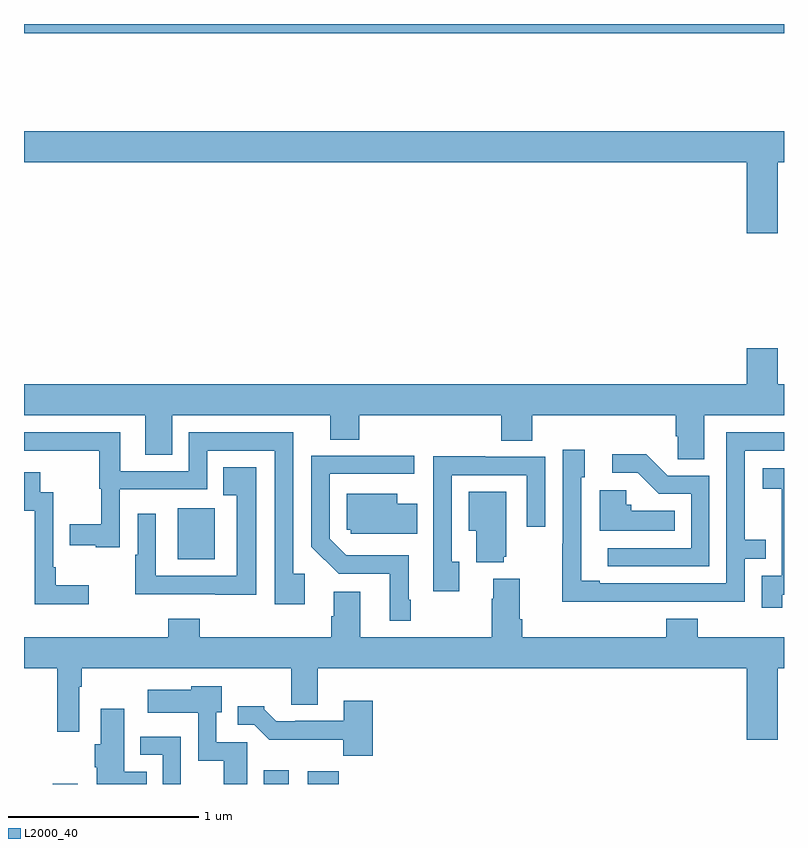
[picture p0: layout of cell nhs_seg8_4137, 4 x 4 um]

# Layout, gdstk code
import gdstk
lib = gdstk.Library(unit=1e-6, precision=1e-09)
def R(c, l, rs):  # rectangles x0, y0, x1, y1
    for r in rs: c.add(gdstk.rectangle(r[:2], r[2:], *l))
def P(c, l, *ps):  # polygons
    for p in ps: c.add(gdstk.Polygon(p, *l))
L2000_40 = (2000, 40)

nhs_seg8_4137 = lib.new_cell('nhs_seg8_4137')
R(nhs_seg8_4137, L2000_40, [(365.15,1107.9,365.284,1107.901), (366.263,1107.9,366.394,1107.973), (366.494,1107.9,366.656,1107.967), (365.81,1109.084,366.004,1109.352), (365,1111.852,369,1111.9)])
P(nhs_seg8_4137, L2000_40, [(368.968,1111.172),(369,1111.172),(369,1111.336),(365,1111.336),(365,1111.172),(368.804,1111.172),(368.804,1110.798),(368.968,1110.798)],
  [(368.581,1109.84),(369,1109.84),(369,1110.004),(368.968,1110.004),(368.968,1110.193),(368.804,1110.193),(368.804,1110.004),(365,1110.004),(365,1109.84),(365.639,1109.84),(365.639,1109.632),(365.779,1109.632),(365.779,1109.84),(366.611,1109.84),(366.611,1109.713),(366.764,1109.713),(366.764,1109.84),(367.511,1109.84),(367.511,1109.707),(367.676,1109.707),(367.676,1109.84),(368.429,1109.84),(368.429,1109.731),(368.442,1109.731),(368.442,1109.608),(368.581,1109.608)],
  [(368.297,1108.86),(368.793,1108.86),(368.793,1109.085),(368.903,1109.085),(368.903,1109.186),(368.793,1109.186),(368.793,1109.655),(369,1109.655),(369,1109.751),(368.697,1109.751),(368.697,1108.956),(368.029,1108.956),(368.029,1108.969),(367.932,1108.969),(367.932,1109.514),(367.951,1109.514),(367.951,1109.659),(367.836,1109.659),(367.836,1109.165),(367.834,1109.165),(367.834,1108.859),(368.297,1108.859)],
  [(366.478,1109.006),(366.417,1109.006),(366.417,1109.751),(365.868,1109.751),(365.868,1109.547),(365.506,1109.547),(365.506,1109.751),(365,1109.751),(365,1109.655),(365.173,1109.655),(365.173,1109.653),(365.397,1109.653),(365.397,1109.454),(365.407,1109.454),(365.407,1109.266),(365.241,1109.266),(365.241,1109.156),(365.378,1109.156),(365.378,1109.145),(365.505,1109.145),(365.505,1109.451),(365.964,1109.451),(365.964,1109.655),(366.321,1109.655),(366.321,1108.845),(366.478,1108.845)],
  [(368.607,1109.523),(368.388,1109.523),(368.275,1109.636),(368.097,1109.636),(368.097,1109.538),(368.231,1109.538),(368.342,1109.427),(368.511,1109.427),(368.511,1109.142),(368.073,1109.142),(368.073,1109.046),(368.607,1109.046)],
  [(367.036,1108.87),(367.024,1108.87),(367.024,1109.103),(366.696,1109.103),(366.609,1109.19),(366.609,1109.532),(367.054,1109.532),(367.054,1109.628),(366.513,1109.628),(366.513,1109.15),(366.656,1109.007),(366.926,1109.007),(366.926,1108.758),(367.036,1108.758)],
  [(367.291,1109.07),(367.251,1109.07),(367.251,1109.526),(367.647,1109.526),(367.647,1109.253),(367.743,1109.253),(367.743,1109.622),(367.427,1109.622),(367.427,1109.624),(367.155,1109.624),(367.155,1108.914),(367.291,1108.914)],
  [(366.223,1109.566),(366.049,1109.566),(366.049,1109.42),(366.119,1109.42),(366.119,1108.995),(365.694,1108.995),(365.694,1109.323),(365.598,1109.323),(365.598,1109.106),(365.586,1109.106),(365.586,1108.899),(366.007,1108.899),(366.007,1108.897),(366.223,1108.897)],
  [(368.992,1108.897),(369,1108.897),(369,1109.563),(368.889,1109.563),(368.889,1109.453),(368.987,1109.453),(368.987,1109.225),(368.988,1109.225),(368.988,1108.995),(368.883,1108.995),(368.883,1108.827),(368.992,1108.827)],
  [(365.341,1108.946),(365.167,1108.946),(365.167,1109.041),(365.154,1109.041),(365.154,1109.436),(365.085,1109.436),(365.085,1109.542),(365,1109.542),(365,1109.337),(365.057,1109.337),(365.057,1108.847),(365.341,1108.847)],
  [(368.426,1109.338),(368.196,1109.338),(368.196,1109.37),(368.169,1109.37),(368.169,1109.446),(368.03,1109.446),(368.03,1109.234),(368.426,1109.234)],
  [(367.526,1109.097),(367.537,1109.097),(367.537,1109.437),(367.34,1109.437),(367.34,1109.234),(367.379,1109.234),(367.379,1109.066),(367.526,1109.066)],
  [(367.069,1109.374),(366.964,1109.374),(366.964,1109.428),(366.699,1109.428),(366.699,1109.238),(366.72,1109.238),(366.72,1109.216),(367.069,1109.216)],
  [(365,1108.508),(365.176,1108.508),(365.176,1108.176),(365.292,1108.176),(365.292,1108.412),(365.305,1108.412),(365.305,1108.508),(366.407,1108.508),(366.407,1108.318),(366.547,1108.318),(366.547,1108.508),(368.804,1108.508),(368.804,1108.134),(368.968,1108.134),(368.968,1108.508),(369,1108.508),(369,1108.672),(368.546,1108.672),(368.546,1108.771),(368.381,1108.771),(368.381,1108.672),(367.622,1108.672),(367.622,1108.768),(367.609,1108.768),(367.609,1108.981),(367.469,1108.981),(367.469,1108.874),(367.462,1108.874),(367.462,1108.672),(366.769,1108.672),(366.769,1108.912),(366.629,1108.912),(366.629,1108.784),(366.617,1108.784),(366.617,1108.672),(365.924,1108.672),(365.924,1108.771),(365.759,1108.771),(365.759,1108.672),(365,1108.672)],
  [(366.175,1108.119),(366.012,1108.119),(366.012,1108.278),(366.04,1108.278),(366.04,1108.414),(365.88,1108.414),(365.88,1108.396),(365.652,1108.396),(365.652,1108.274),(365.916,1108.274),(365.916,1108.022),(366.05,1108.022),(366.05,1107.9),(366.175,1107.9)],
  [(366.836,1108.339),(366.683,1108.339),(366.683,1108.233),(366.427,1108.233),(366.427,1108.23),(366.328,1108.23),(366.264,1108.294),(366.264,1108.309),(366.125,1108.309),(366.125,1108.212),(366.213,1108.212),(366.292,1108.134),(366.681,1108.134),(366.681,1108.049),(366.836,1108.049)],
  [(365.645,1107.964),(365.527,1107.964),(365.527,1108.297),(365.405,1108.297),(365.405,1108.11),(365.372,1108.11),(365.372,1107.988),(365.384,1107.988),(365.384,1107.9),(365.645,1107.9)],
  [(365.826,1108.149),(365.613,1108.149),(365.613,1108.053),(365.73,1108.053),(365.73,1107.9),(365.826,1107.9)])

lib.write_gds('nhs_seg8_4137.gds')
